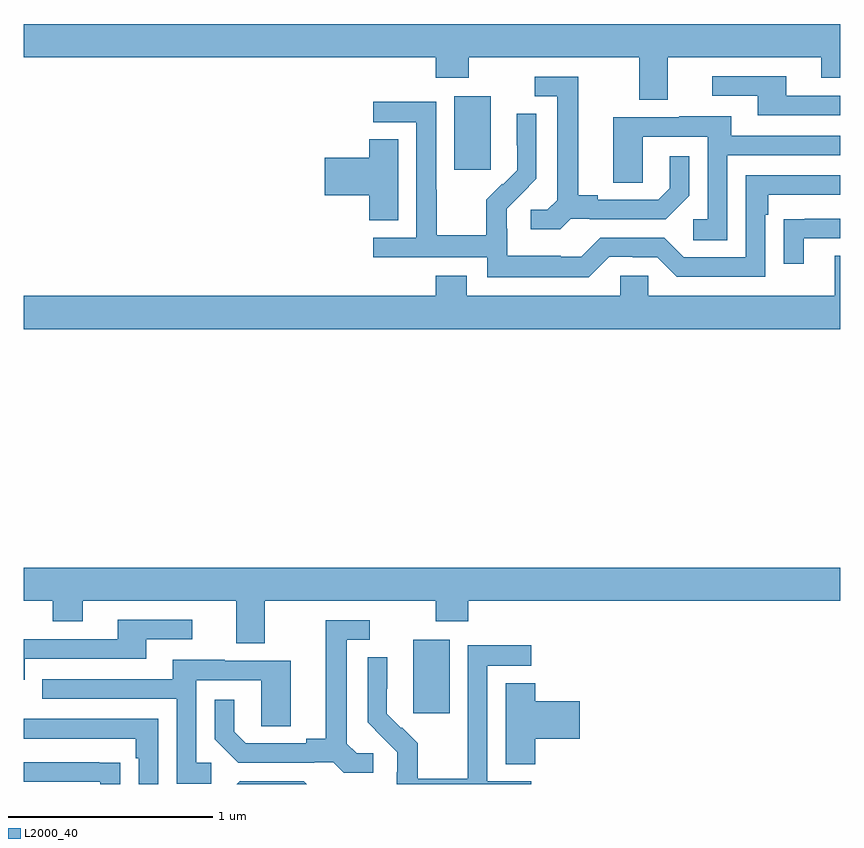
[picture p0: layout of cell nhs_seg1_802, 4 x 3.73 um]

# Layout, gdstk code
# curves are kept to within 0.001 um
import gdstk
lib = gdstk.Library(unit=1e-6, precision=1e-09)
def R(c, l, rs):  # rectangles x0, y0, x1, y1
    for r in rs: c.add(gdstk.rectangle(r[:2], r[2:], *l))
def P(c, l, *ps):  # polygons
    for p in ps: c.add(gdstk.Polygon(p, *l))
L2000_40 = (2000, 40)

nhs_seg1_802 = lib.new_cell('nhs_seg1_802')
R(nhs_seg1_802, L2000_40, [(156.908,520.545,157.087,520.906), (157.109,523.209,157.288,523.57)])
P(nhs_seg1_802, L2000_40, [(158.155,523.76),(158.909,523.76),(158.909,523.661),(159,523.661),(159,523.924),(155,523.924),(155,523.76),(157.019,523.76),(157.019,523.661),(157.179,523.661),(157.179,523.76),(158.015,523.76),(158.015,523.552),(158.155,523.552)],
  [(159,523.572),(158.737,523.572),(158.737,523.668),(158.373,523.668),(158.373,523.572),(158.597,523.572),(158.597,523.476),(159,523.476)],
  [(157.68,522.969),(157.774,522.969),(157.774,522.966),(158.146,522.966),(158.262,523.082),(158.262,523.276),(158.165,523.276),(158.165,523.119),(158.108,523.062),(157.813,523.062),(157.813,523.085),(157.717,523.085),(157.717,523.665),(157.503,523.665),(157.503,523.569),(157.613,523.569),(157.613,523.061),(157.566,523.014),(157.485,523.014),(157.485,522.917),(157.628,522.917)],
  [(157.869,522.783),(157.985,522.783),(157.985,522.78),(158.103,522.78),(158.199,522.684),(158.634,522.684),(158.634,522.989),(158.647,522.989),(158.647,523.086),(159,523.086),(159,523.182),(158.538,523.182),(158.538,522.78),(158.235,522.78),(158.139,522.876),(157.824,522.876),(157.731,522.783),(157.631,522.783),(157.631,522.787),(157.368,522.787),(157.368,522.921),(157.366,522.921),(157.366,523.018),(157.512,523.166),(157.512,523.484),(157.416,523.484),(157.416,523.33),(157.418,523.33),(157.418,523.208),(157.347,523.137),(157.344,523.14),(157.267,523.063),(157.267,522.889),(157.023,522.889),(157.023,523.112),(157.02,523.112),(157.02,523.542),(156.711,523.542),(156.711,523.443),(156.924,523.443),(156.924,522.876),(156.711,522.876),(156.711,522.78),(157.272,522.78),(157.272,522.683),(157.769,522.683)],
  [(158.448,523.281),(159,523.281),(159,523.377),(158.467,523.377),(158.467,523.471),(158.213,523.471),(158.213,523.467),(157.889,523.467),(157.889,523.147),(158.034,523.147),(158.034,523.371),(158.352,523.371),(158.352,522.966),(158.28,522.966),(158.28,522.865),(158.448,522.865)],
  [(156.835,523.358),(156.692,523.358),(156.692,523.268),(156.474,523.268),(156.474,523.085),(156.692,523.085),(156.692,522.961),(156.835,522.961)],
  [(158.821,522.873),(159,522.873),(159,522.969),(158.827,522.969),(158.827,522.968),(158.725,522.968),(158.725,522.75),(158.821,522.75)],
  [(159,522.787),(158.975,522.787),(158.975,522.592),(158.061,522.592),(158.061,522.69),(157.923,522.69),(157.923,522.592),(157.171,522.592),(157.171,522.691),(157.019,522.691),(157.019,522.592),(155,522.592),(155,522.428),(159,522.428)],
  [(156.181,521.096),(157.018,521.096),(157.018,520.997),(157.178,520.997),(157.178,521.096),(159,521.096),(159,521.26),(155,521.26),(155,521.096),(155.14,521.096),(155.14,520.997),(155.287,520.997),(155.287,521.096),(156.041,521.096),(156.041,520.888),(156.181,520.888)],
  [(155.004,520.812),(155.599,520.812),(155.599,520.908),(155.824,520.908),(155.824,521.004),(155.459,521.004),(155.459,520.908),(155,520.908),(155,520.709),(155.004,520.709)],
  [(156.712,520.35),(156.63,520.35),(156.583,520.397),(156.583,520.905),(156.694,520.905),(156.694,521.001),(156.479,521.001),(156.479,520.421),(156.383,520.421),(156.383,520.398),(156.088,520.398),(156.031,520.455),(156.031,520.612),(155.934,520.612),(155.934,520.418),(156.05,520.302),(156.422,520.302),(156.422,520.305),(156.516,520.305),(156.568,520.253),(156.712,520.253)],
  [(157.486,520.212),(157.272,520.212),(157.272,520.779),(157.486,520.779),(157.486,520.878),(157.176,520.878),(157.176,520.448),(157.174,520.448),(157.174,520.225),(156.929,520.225),(156.929,520.399),(156.852,520.476),(156.849,520.473),(156.779,520.544),(156.78,520.82),(156.684,520.82),(156.684,520.502),(156.83,520.354),(156.83,520.257),(156.828,520.257),(156.828,520.199),(157.486,520.199)],
  [(155.917,520.302),(155.844,520.302),(155.844,520.707),(156.162,520.707),(156.162,520.483),(156.307,520.483),(156.307,520.803),(155.983,520.803),(155.983,520.807),(155.729,520.807),(155.729,520.713),(155.089,520.713),(155.089,520.617),(155.748,520.617),(155.748,520.201),(155.917,520.201)],
  [(157.505,520.421),(157.723,520.421),(157.723,520.604),(157.505,520.604),(157.505,520.694),(157.361,520.694),(157.361,520.297),(157.505,520.297)],
  [(155.658,520.518),(155,520.518),(155,520.422),(155.549,520.422),(155.549,520.325),(155.562,520.325),(155.562,520.199),(155.658,520.199)],
  [(155.471,520.304),(155.369,520.304),(155.369,520.305),(155,520.305),(155,520.209),(155.375,520.209),(155.375,520.199),(155.471,520.199)],
  [(156.372,520.212),(156.057,520.212),(156.044,520.199),(156.385,520.199)])

lib.write_gds('nhs_seg1_802.gds')
